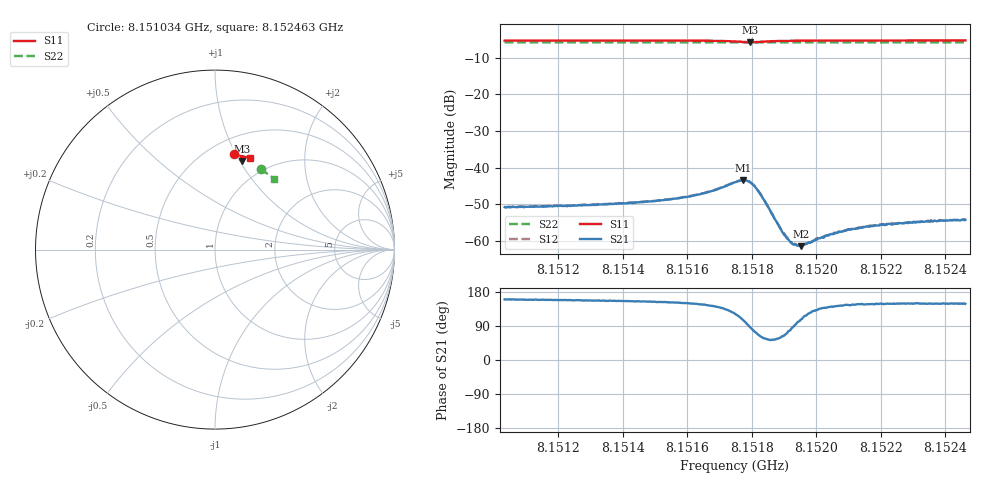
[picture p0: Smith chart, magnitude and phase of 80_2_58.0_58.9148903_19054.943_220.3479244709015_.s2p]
#  HZ  S  RI  R  50.00
! Rohde & Schwarz Vector Network Analyzer
! Rohde-Schwarz,ZNB20-2Port,1311601062101988,3.16
! Created: UTC 3/21/2024, 12:53:52 AM
! freq[Hz]  re:S11  im:S11  re:S21  im:S21  re:S12  im:S12  re:S22  im:S22
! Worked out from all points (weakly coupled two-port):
!   401 points, 8.151034 GHz to 8.152463 GHz, reference 50 ohm
!   highest |S21| = -43.43 dB at 8.151773 GHz (marker M1); lowest = -61.4 dB at 8.151952 GHz (marker M2)
!   lowest |S11| = -5.8 dB at 8.151795 GHz (marker M3), VSWR 3.13, Z = 38 + j51 ohm
!   |S11| at or under -10 dB: nowhere
!   |S22| runs from -5.8 to -5.8 dB; largest |S21 - S12| = 0.00015
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8.1510338e9  0.1064 0.5324  -0.00272 0.000994  -0.00271 0.00104  0.2537 0.4474
8.1512731e9  0.1237 0.5289  -0.00281 0.00119  -0.00288 0.00121  0.2669 0.4392
8.1515124e9  0.142 0.524  -0.00319 0.00161  -0.00319 0.00167  0.2799 0.4307
8.1516053e9  0.1504 0.5207  -0.00348 0.00205  -0.00347 0.00212  0.2848 0.4273
8.1516446e9  0.1542 0.5185  -0.0037 0.00241  -0.00369 0.0025  0.287 0.4256
8.1516874e9  0.1587 0.5146  -0.00387 0.00311  -0.00388 0.0032  0.2893 0.424
8.1517482e9  0.1627 0.5025  -0.00335 0.00537  -0.00332 0.00546  0.2922 0.4212
8.1517732e9  0.1581 0.495  -0.00182 0.00648  -0.00174 0.00656  0.2931 0.4201
8.1517946e9  0.1491 0.4934  0.000351 0.00632  0.000417 0.00638  0.2939 0.4195
8.1518089e9  0.1437 0.4966  0.00145 0.0054  0.00155 0.00543  0.2944 0.4192
8.1518232e9  0.1411 0.5017  0.00197 0.00416  0.00205 0.00416  0.2952 0.4189
8.1518875e9  0.148 0.5155  0.000792 0.00129  0.00083 0.00127  0.2988 0.417
8.1519053e9  0.1507 0.5165  0.000433 0.00108  0.000459 0.00106  0.2999 0.4162
8.1519268e9  0.1539 0.5174  6.38e-05 0.000904  9.25e-05 0.000911  0.301 0.4156
8.1519375e9  0.1551 0.5175  -7.4e-05 0.000881  -6.71e-05 0.000893  0.3015 0.415
8.1519518e9  0.1569 0.5174  -0.000241 0.000814  -0.000238 0.00083  0.3024 0.4145
8.1519875e9  0.1609 0.5174  -0.000617 0.000784  -0.000579 0.000772  0.3042 0.4131
8.1520518e9  0.1672 0.5166  -0.000951 0.000792  -0.000969 0.000822  0.3075 0.4105
8.1520982e9  0.171 0.5158  -0.00117 0.000805  -0.00117 0.000833  0.3099 0.4086
8.1521625e9  0.1762 0.5146  -0.00132 0.000849  -0.00134 0.000884  0.3132 0.4062
8.1522268e9  0.1811 0.5131  -0.00146 0.000893  -0.00144 0.000888  0.3164 0.4034
8.1524626e9  0.1976 0.5077  -0.00165 0.00102  -0.00164 0.00103  0.3281 0.3937
